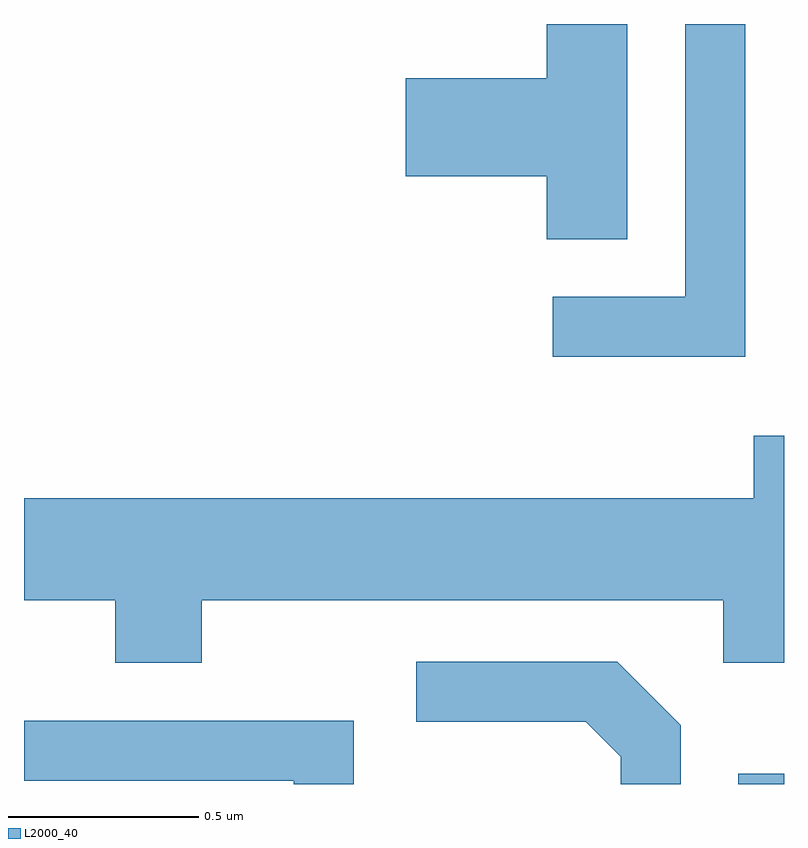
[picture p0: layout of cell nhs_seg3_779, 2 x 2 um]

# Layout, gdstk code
import gdstk
lib = gdstk.Library(unit=1e-6, precision=1e-09)
def R(c, l, rs):  # rectangles x0, y0, x1, y1
    for r in rs: c.add(gdstk.rectangle(r[:2], r[2:], *l))
def P(c, l, *ps):  # polygons
    for p in ps: c.add(gdstk.Polygon(p, *l))
L2000_40 = (2000, 40)

nhs_seg3_779 = lib.new_cell('nhs_seg3_779')
R(nhs_seg3_779, L2000_40, [(192.491,1209.892,192.611,1209.919)])
P(nhs_seg3_779, L2000_40, [(192.509,1211.892),(192.351,1211.892),(192.351,1211.174),(192.003,1211.174),(192.003,1211.016),(192.509,1211.016)],
  [(192.199,1211.892),(191.986,1211.892),(191.986,1211.749),(191.616,1211.749),(191.616,1211.491),(191.986,1211.491),(191.986,1211.326),(192.199,1211.326)],
  [(191.079,1210.376),(192.451,1210.376),(192.451,1210.211),(192.611,1210.211),(192.611,1210.809),(192.531,1210.809),(192.531,1210.644),(190.611,1210.644),(190.611,1210.376),(190.851,1210.376),(190.851,1210.211),(191.079,1210.211)],
  [(192.339,1210.047),(192.172,1210.214),(191.643,1210.214),(191.643,1210.056),(192.089,1210.056),(192.181,1209.964),(192.181,1209.892),(192.339,1209.892)],
  [(191.479,1210.059),(190.611,1210.059),(190.611,1209.901),(191.321,1209.901),(191.321,1209.892),(191.479,1209.892)])

lib.write_gds('nhs_seg3_779.gds')
